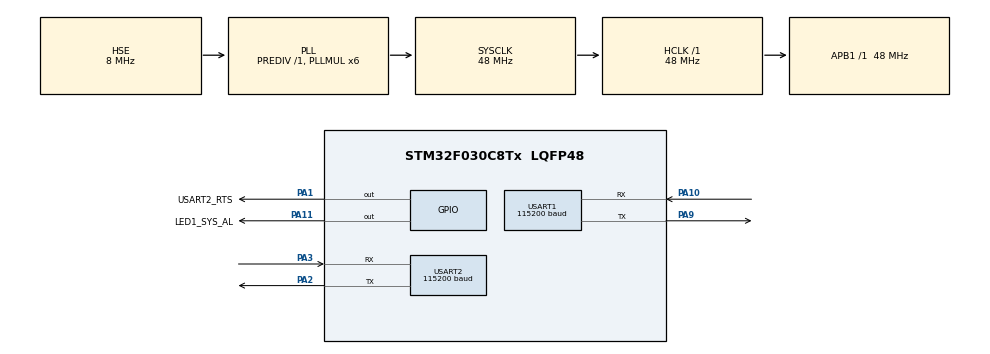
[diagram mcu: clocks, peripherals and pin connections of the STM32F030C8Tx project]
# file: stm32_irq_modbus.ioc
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Mcu.Family=STM32F0
Mcu.Name=STM32F030C8Tx
Mcu.Package=LQFP48
NVIC.TIM6_IRQn=true\:0\:0\:false\:false\:true\:true\:true\:true
NVIC.USART1_IRQn=true\:0\:0\:false\:false\:true\:true\:true\:true
NVIC.USART2_IRQn=true\:0\:0\:false\:false\:true\:false\:true\:true
PA1.GPIO_Label=USART2_RTS
PA1.Signal=GPIO_Output
PA10.Mode=Asynchronous
PA10.Signal=USART1_RX
PA11.GPIO_Label=LED1_SYS_AL
PA11.Signal=GPIO_Output
PA13.Mode=Serial_Wire
PA13.Signal=SYS_SWDIO
PA14.Mode=Serial_Wire
PA14.Signal=SYS_SWCLK
PA2.Mode=Asynchronous
PA2.Signal=USART2_TX
PA3.Mode=Asynchronous
PA3.Signal=USART2_RX
PA9.Mode=Asynchronous
PA9.Signal=USART1_TX
PF0-OSC_IN.Mode=HSE-External-Oscillator
PF0-OSC_IN.Signal=RCC_OSC_IN
PF1-OSC_OUT.Mode=HSE-External-Oscillator
PF1-OSC_OUT.Signal=RCC_OSC_OUT
ProjectManager.HeapSize=0x200
ProjectManager.StackSize=0x400
ProjectManager.TargetToolchain=STM32CubeIDE
RCC.AHBFreq_Value=48000000
RCC.APB1Freq_Value=48000000
RCC.APB1TimFreq_Value=48000000
RCC.HCLKFreq_Value=48000000
RCC.PLLMUL=RCC_PLL_MUL6
RCC.PLLSourceVirtual=RCC_PLLSOURCE_HSE
RCC.SYSCLKFreq_VALUE=48000000
RCC.SYSCLKSource=RCC_SYSCLKSOURCE_PLLCLK
TIM6.Period=50-1
TIM6.Prescaler=SystemCoreClock/1000000-1
USART1.BaudRate=115200
USART1.VirtualMode-Asynchronous=VM_ASYNC
USART2.BaudRate=115200
USART2.DMADisableonRxErrorParam=ADVFEATURE_DMA_DISABLEONRXERROR
USART2.OverrunDisableParam=ADVFEATURE_OVERRUN_DISABLE
USART2.VirtualMode-Asynchronous=VM_ASYNC
VP_TIM6_VS_ClockSourceINT.Mode=Enable_Timer
board=custom

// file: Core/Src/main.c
/* USER CODE BEGIN Header */
/**
 ******************************************************************************
 * @file           : main.c
 * @brief          : Main program body
 ******************************************************************************
  nanoModbus stm32 expamle irq
  Copyright (C) 2025 Peter Kostenko <kpvnnov@gmail.com> https://t.me/kpvnnov

    MIT License
    Permission is hereby granted, free of charge, to any person obtaining a copy
    of this software and associated documentation files (the "Software"), to deal
    in the Software without restriction, including without limitation the rights
    to use, copy, modify, merge, publish, distribute, sublicense, and/or sell
    copies of the Software, and to permit persons to whom the Software is
    furnished to do so, subject to the following conditions:

    The above copyright notice and this permission notice shall be included in all
    copies or substantial portions of the Software.

    THE SOFTWARE IS PROVIDED "AS IS", WITHOUT WARRANTY OF ANY KIND, EXPRESS OR
    IMPLIED, INCLUDING BUT NOT LIMITED TO THE WARRANTIES OF MERCHANTABILITY,
    FITNESS FOR A PARTICULAR PURPOSE AND NONINFRINGEMENT. IN NO EVENT SHALL THE
    AUTHORS OR COPYRIGHT HOLDERS BE LIABLE FOR ANY CLAIM, DAMAGES OR OTHER
    LIABILITY, WHETHER IN AN ACTION OF CONTRACT, TORT OR OTHERWISE, ARISING FROM,
    OUT OF OR IN CONNECTION WITH THE SOFTWARE OR THE USE OR OTHER DEALINGS IN THE
    SOFTWARE.
 *
 ******************************************************************************
 */
/* USER CODE END Header */
#include "main.h"
#include "tim.h"
#include "usart.h"
#include "gpio.h"

/* USER CODE BEGIN Includes */
#include "..\..\..\..\nanomodbus.h"
#ifdef NMBS_DEBUG
#include <errno.h>
#include <sys/unistd.h> // STDOUT_FILENO, STDERR_FILENO
#include <stdio.h>
#define NMBS_DEBUG_DUMP(BUF,LEN) printf(BUF, LEN)
#else
#define NMBS_DEBUG_DUMP(...) (void) (0)
#endif

//#include <stdbool.h>
/* USER CODE END Includes */

/* USER CODE BEGIN PD */

//invert the red LED
#define RED_TOGGLE()    HAL_GPIO_TogglePin(LED1_SYS_AL_GPIO_Port, LED1_SYS_AL_Pin);

#define SetRS485Receive() HAL_GPIO_WritePin(USART2_RTS_GPIO_Port, USART2_RTS_Pin, GPIO_PIN_RESET)
#define SetRS485Transmit() HAL_GPIO_WritePin(USART2_RTS_GPIO_Port, USART2_RTS_Pin, GPIO_PIN_SET)
#define ToggleRS485Transmit() HAL_GPIO_TogglePin(USART2_RTS_GPIO_Port, USART2_RTS_Pin)

// The data model of this sever will support coils addresses 0 to 100 and registers addresses from 0 to 32
#define COILS_ADDR_MAX 100
#define REGS_ADDR_MAX 32

// Our RTU address
#define RTU_SERVER_ADDRESS 1

/* USER CODE END PD */

/* USER CODE BEGIN PV */
uint16_t Speed = 9600;
nmbs_t nmbs;

// A single nmbs_bitfield variable can keep 2000 coils
nmbs_bitfield server_coils = { 0 };
uint16_t server_registers[REGS_ADDR_MAX + 1] = { 0 };

/* USER CODE END PV */

void SystemClock_Config(void);

/* USER CODE BEGIN 0 */

// set counter of received symbols
void msg_buf_set(nmbs_t *nmbs, uint32_t length) {
	nmbs->msg.buf_rec = length;
}
// read counter received symbols
uint32_t msg_buf_get(nmbs_t *nmbs) {
	return nmbs->msg.buf_rec;
}
// incremet counter received symbols
bool msg_buf_inc(nmbs_t *nmbs) {
	if ((sizeof(nmbs->msg.buf) - nmbs->msg.buf_rec - 1) <= 0)
		return false;
	nmbs->msg.buf_rec++;
	return true;
}

// reset counter received symbols
void msg_rec_reset(nmbs_t *nmbs) {
	msg_buf_set(nmbs, 0);
}

int32_t read_from_buf(uint8_t *buf, uint16_t count, int32_t byte_timeout_ms,
		void *arg) {

//in zero-copy mode buf_rec used for receive symbols in irq(interrupt) mode
//buf_idx increases with each read operation
//there is no need to create two receive buffers - for hardware reception and further reading
	return ((nmbs.msg.buf_rec - nmbs.msg.buf_idx - count) >= 0 ?
			count : (nmbs.msg.buf_rec - nmbs.msg.buf_idx));
}

int32_t write_serial(const uint8_t *buf, uint16_t count,
		int32_t byte_timeout_ms, void *arg) {
	SetRS485Transmit();
	if (HAL_UART_AbortReceive(&huart2) != HAL_OK) {
		Error_Handler();
	}
	if (HAL_UART_Transmit_IT(&huart2, buf, count) != HAL_OK) {
		NMBS_DEBUG_PRINT("HAL_UART_Transmit_IT error\n");
		Error_Handler();
	}
	return count;
}

void nano_RecieveMode(void) {
	SetRS485Receive();
	/* Generate an update event to reload the Prescaler
	 and the repetition counter (only for advanced timer) value immediately */
	htim6.Instance->EGR = TIM_EGR_UG;

	/* Check if the update flag is set after the Update Generation, if so clear the UIF flag */
	if (HAL_IS_BIT_SET(htim6.Instance->SR, TIM_FLAG_UPDATE)) {
		/* Clear the update flag */
		CLEAR_BIT(htim6.Instance->SR, TIM_FLAG_UPDATE);
	}
	if (HAL_TIM_Base_Start_IT(&htim6) != HAL_OK) {
		/* Starting Error */
		Error_Handler();
	}
	msg_rec_reset(&nmbs);
//Receive of data in IRQ Mode
	if (HAL_UART_Receive_IT(&huart2, nmbs.msg.buf, 1) != HAL_OK) {
		NMBS_DEBUG_PRINT("HAL_UART_Receive_IT error\n");
		Error_Handler();
	}
}

void HAL_UART_TxCpltCallback(UART_HandleTypeDef *huart) {
	if (huart == &huart2) {
		//after end of transmit go in receive mode
		nano_RecieveMode();
	}
}

void HAL_UART_RxCpltCallback(UART_HandleTypeDef *huart) {
	if (huart == &huart2) {
#ifdef NMBS_DEBUG
		//printf("%ld uart2\n", HAL_GetTick());
#endif
		//restart 3.5 timer

		/* Generate an update event to reload the Prescaler
		 and the repetition counter (only for advanced timer) value immediately */
		htim6.Instance->EGR = TIM_EGR_UG;

		/* Check if the update flag is set after the Update Generation, if so clear the UIF flag */
		if (HAL_IS_BIT_SET(htim6.Instance->SR, TIM_FLAG_UPDATE)) {
			/* Clear the update flag */
			CLEAR_BIT(htim6.Instance->SR, TIM_FLAG_UPDATE);
		}
		if (msg_buf_inc(&nmbs)) {
			//Receive next symbol
			if (HAL_UART_Receive_IT(&huart2, &nmbs.msg.buf[nmbs.msg.buf_rec], 1)
					!= HAL_OK) {
				NMBS_DEBUG_PRINT("HAL_UART_Receive_IT error\n");

				Error_Handler();
			}
		} else { //overflow input buffer
			nano_RecieveMode();
		}
	}
}

void HAL_TIM_PeriodElapsedCallback(TIM_HandleTypeDef *htim) {
	if (htim->Instance == TIM6) {
		uint32_t Size = msg_buf_get(&nmbs);
		if (Size) { //number of received symbol
#ifdef NMBS_DEBUG
			//printf("%ld timer\n", HAL_GetTick());
#endif
			//stop timer 3.5 word
			if (HAL_TIM_Base_Stop_IT(&htim6) != HAL_OK) {
				// Starting Error
				Error_Handler();
			}

			nmbs_error res_poll = nmbs_server_poll(&nmbs);
			if (NMBS_ERROR_NONE != res_poll) {
				NMBS_DEBUG_PRINT(
						"nmbs_server_poll error:%d size of receive:%d\n",
						(int8_t ) res_poll, Size);
				NMBS_DEBUG_PRINT("%s\n", nmbs_strerror(res_poll));
				NMBS_DEBUG_DUMP((uint8_t* )&nmbs, (uint16_t )Size);

				if (HAL_UART_AbortReceive(&huart2) != HAL_OK) {
					Error_Handler();
				}
				nano_RecieveMode();
			}
		}
	}
}

nmbs_error handle_read_coils(uint16_t address, uint16_t quantity,
		nmbs_bitfield coils_out, uint8_t unit_id, void *arg) {
	if (address + quantity > COILS_ADDR_MAX + 1)
		return NMBS_EXCEPTION_ILLEGAL_DATA_ADDRESS;

	// Read our coils values into coils_out
	for (int i = 0; i < quantity; i++) {
		bool value = nmbs_bitfield_read(server_coils, address + i);
		nmbs_bitfield_write(coils_out, i, value);
	}
	return NMBS_ERROR_NONE;
}

void onError(nmbs_error err) {
	printf("error: %d\n", err);
	exit(0);
}

#ifdef NMBS_DEBUG
uint8_t debug_buffer[4096];
uint16_t pos_debug = 0;

int _write(int file, char *data, int len) {
	if ((file != STDOUT_FILENO) && (file != STDERR_FILENO)) {
		errno = EBADF;
		return -1;
	}
	//HAL_UART_Transmit(&huart1, (uint8_t*) data, (uint16_t) len, 0xFFFF);
	//HAL_UART_Transmit_IT(&huart1, (uint8_t*) data, (uint16_t) len);
	strncpy(&debug_buffer[pos_debug], data, len);
	pos_debug += len;
	return len;
}
void flush_debug() {
	HAL_UART_Transmit_IT(&huart1, debug_buffer, pos_debug);
	pos_debug = 0;
}
#endif

/* USER CODE END 0 */

int main(void) {

	/* MCU Configuration--------------------------------------------------------*/

	/* Reset of all peripherals, Initializes the Flash interface and the Systick. */
	HAL_Init();

	/* Configure the system clock */
	SystemClock_Config();

	/* Initialize all configured peripherals */
	MX_GPIO_Init();
	MX_USART2_UART_Init();
	MX_TIM6_Init();
	MX_USART1_UART_Init();
	/* USER CODE BEGIN 2 */

#ifdef NMBS_DEBUG
	printf("Begin\n");
#endif
	nmbs_platform_conf platform_conf;
	nmbs_platform_conf_create(&platform_conf);
	platform_conf.transport = NMBS_TRANSPORT_RTU;
	platform_conf.read = read_from_buf;
	platform_conf.write = write_serial;

	nmbs_callbacks callbacks;
	nmbs_callbacks_create(&callbacks);
	callbacks.read_coils = handle_read_coils;

	nmbs_error err = nmbs_server_create(&nmbs, RTU_SERVER_ADDRESS,
			&platform_conf, &callbacks);

	if (err != NMBS_ERROR_NONE)
		onError(err);

	/* USER CODE END 2 */

	/* Infinite loop */
	/* USER CODE BEGIN WHILE */
	//run server in interrupt mode
	nano_RecieveMode();
	while (1) {
		/* USER CODE END WHILE */

		/* USER CODE BEGIN 3 */
		//Here you can add the logic of the main program. At this point, modbus communication is in interrupt mode
		RED_TOGGLE();
#ifdef NMBS_DEBUG
		flush_debug();
#endif
		HAL_Delay(500);
	}
	/* USER CODE END 3 */
}

void SystemClock_Config(void) {
	RCC_OscInitTypeDef RCC_OscInitStruct = { 0 };
	RCC_ClkInitTypeDef RCC_ClkInitStruct = { 0 };
	RCC_PeriphCLKInitTypeDef PeriphClkInit = { 0 };

	/** Initializes the RCC Oscillators according to the specified parameters
	 * in the RCC_OscInitTypeDef structure.
	 */
	RCC_OscInitStruct.OscillatorType = RCC_OSCILLATORTYPE_HSE;
	RCC_OscInitStruct.HSEState = RCC_HSE_ON;
	RCC_OscInitStruct.PLL.PLLState = RCC_PLL_ON;
	RCC_OscInitStruct.PLL.PLLSource = RCC_PLLSOURCE_HSE;
	RCC_OscInitStruct.PLL.PLLMUL = RCC_PLL_MUL6;
	RCC_OscInitStruct.PLL.PREDIV = RCC_PREDIV_DIV1;
	if (HAL_RCC_OscConfig(&RCC_OscInitStruct) != HAL_OK) {
		Error_Handler();
	}

	/** Initializes the CPU, AHB and APB buses clocks
	 */
	RCC_ClkInitStruct.ClockType = RCC_CLOCKTYPE_HCLK | RCC_CLOCKTYPE_SYSCLK
			| RCC_CLOCKTYPE_PCLK1;
	RCC_ClkInitStruct.SYSCLKSource = RCC_SYSCLKSOURCE_PLLCLK;
	RCC_ClkInitStruct.AHBCLKDivider = RCC_SYSCLK_DIV1;
	RCC_ClkInitStruct.APB1CLKDivider = RCC_HCLK_DIV1;

	if (HAL_RCC_ClockConfig(&RCC_ClkInitStruct, FLASH_LATENCY_1) != HAL_OK) {
		Error_Handler();
	}
	PeriphClkInit.PeriphClockSelection = RCC_PERIPHCLK_USART1;
	PeriphClkInit.Usart1ClockSelection = RCC_USART1CLKSOURCE_PCLK1;
	if (HAL_RCCEx_PeriphCLKConfig(&PeriphClkInit) != HAL_OK) {
		Error_Handler();
	}
}

void Error_Handler(void) {
	__disable_irq();
	while (1) {
	}
}
